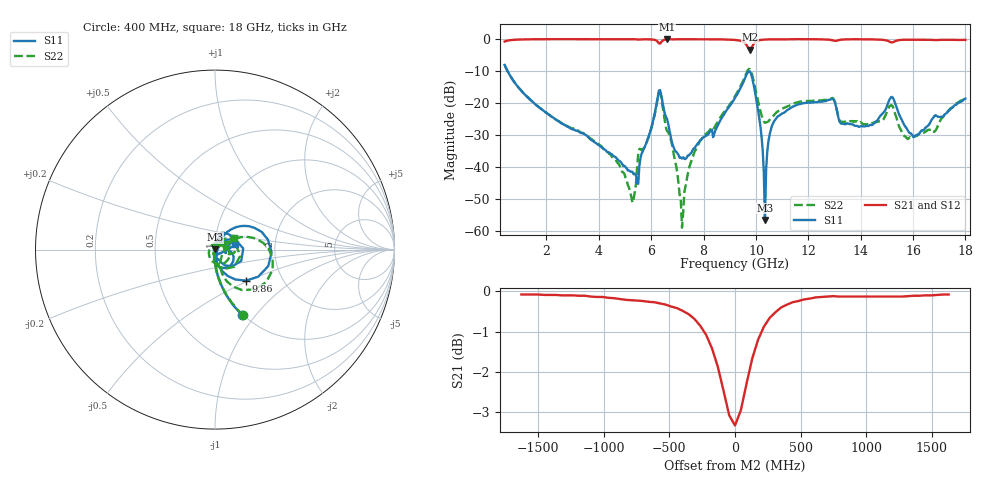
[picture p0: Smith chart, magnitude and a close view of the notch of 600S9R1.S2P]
!  American Technical Ceramics  Date:  10/26/00
!  One Norden Lane
!  Huntington Station,  NY.  11746-2102
!  Tel:  (631) 622-4700  Fax:  (631) 622-4748
!  Part Number  600S9R1  Mounting Orientation: Horizontal
!  Description: Ultra Low ESR Microwave capacitors
!  Application: Coupling, Bypass, Tuning, DC Block
!  Filters, Matching
# GHZ S DB R 50
! Freq  |S11|  S11 Ph  |S21|  S21 Ph  |S12|  S12 Ph  |S22|  S22 Ph
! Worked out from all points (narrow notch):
!   401 points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, 400 MHz to 18 GHz, reference 50 ohm
!   highest |S21| = -0.03 dB at 6.604 GHz (marker M1); lowest = -3.3 dB at 9.772 GHz (marker M2)
!   notch at M2: 3.2 dB deep, 273 MHz wide at half that depth
!   lowest |S11| = -56.5 dB at 10.34 GHz (marker M3), VSWR 1.00, Z = 49.9 + j0.0709 ohm
!   |S11| at or under -10 dB: 511.3 MHz to end of sweep
!   |S22| runs from -58.9 to -8.1 dB; largest |S21 - S12| = 0.0086
!   S11 on the Smith chart (normalised r, x): 400 MHz: 0.99, -0.85; 9.86 GHz: 1.32, -0.48; 18 GHz: 1.25, +0.09
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0.4  -8.12 -67.3  -0.80 22.1  -0.80 22.1  -8.07 -66.9
3.348  -29.42 -92.9  -0.06 -9.5  -0.06 -9.4  -29.26 -94.6
4.668  -37.13 -78.6  -0.05 -15.5  -0.05 -15.4  -38.10 -103.3
5.284  -41.45 -42.6  -0.07 -18.5  -0.07 -18.5  -51.14 -148.5
5.504  -45.21 179.5  -0.19 -19.5  -0.19 -19.4  -35.89 121.0
6.296  -16.05 2.1  -1.38 -24.1  -1.36 -23.9  -16.79 -13.4
6.604  -24.95 -72.5  -0.03 -20.6  -0.03 -20.4  -28.70 -92.2
7.176  -37.30 -25.5  -0.08 -24.7  -0.07 -24.5  -58.90 155.3
7.748  -32.96 30.0  -0.07 -27.5  -0.07 -27.4  -33.61 59.5
9.2  -18.35 55.4  -0.30 -36.6  -0.29 -36.5  -17.89 28.4
9.772  -10.15 -17.1  -3.33 -32.8  -3.30 -32.7  -9.42 -32.4
9.86  -12.24 -45.1  -2.29 -23.8  -2.27 -23.8  -11.30 -56.0
10.344  -56.47 151.7  -0.18 -31.7  -0.17 -31.6  -26.16 -34.5
10.52  -29.96 86.1  -0.12 -33.7  -0.12 -33.6  -25.30 -6.9
10.74  -25.15 75.4  -0.13 -35.4  -0.13 -35.3  -23.32 7.8
12.148  -19.81 66.0  -0.08 -43.3  -0.08 -43.2  -19.35 20.4
12.896  -18.73 44.6  -0.37 -47.7  -0.36 -47.6  -18.43 6.4
13.248  -26.40 34.4  -0.22 -46.0  -0.21 -45.8  -25.98 2.8
13.996  -27.22 45.2  -0.10 -50.6  -0.08 -50.5  -25.93 25.1
15.096  -19.00 -21.9  -0.81 -57.4  -0.79 -57.1  -21.07 -21.6
16.064  -30.54 -54.9  -0.22 -57.7  -0.21 -57.4  -30.24 122.0
18  -18.60 16.7  -0.29 -66.0  -0.28 -65.8  -18.30 31.9
